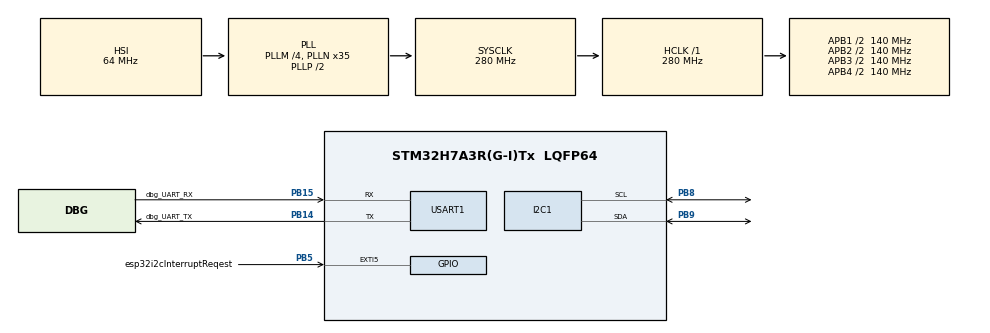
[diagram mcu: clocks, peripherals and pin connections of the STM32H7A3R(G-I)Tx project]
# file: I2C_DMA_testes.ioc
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CORTEX_M7.default_mode_Activation=0
Dma.I2C1_RX.0.Direction=DMA_PERIPH_TO_MEMORY
Dma.I2C1_RX.0.EventEnable=DISABLE
Dma.I2C1_RX.0.FIFOMode=DMA_FIFOMODE_DISABLE
Dma.I2C1_RX.0.Instance=DMA1_Stream0
Dma.I2C1_RX.0.MemDataAlignment=DMA_MDATAALIGN_BYTE
Dma.I2C1_RX.0.MemInc=DMA_MINC_ENABLE
Dma.I2C1_RX.0.Mode=DMA_NORMAL
Dma.I2C1_RX.0.PeriphDataAlignment=DMA_PDATAALIGN_BYTE
Dma.I2C1_RX.0.PeriphInc=DMA_PINC_DISABLE
Dma.I2C1_RX.0.Polarity=HAL_DMAMUX_REQ_GEN_RISING
Dma.I2C1_RX.0.Priority=DMA_PRIORITY_LOW
Dma.I2C1_RX.0.RequestNumber=1
Dma.I2C1_RX.0.SignalID=NONE
Dma.I2C1_RX.0.SyncEnable=DISABLE
Dma.I2C1_RX.0.SyncPolarity=HAL_DMAMUX_SYNC_NO_EVENT
Dma.I2C1_RX.0.SyncRequestNumber=1
Dma.I2C1_RX.0.SyncSignalID=NONE
Dma.I2C1_TX.1.Direction=DMA_MEMORY_TO_PERIPH
Dma.I2C1_TX.1.EventEnable=DISABLE
Dma.I2C1_TX.1.FIFOMode=DMA_FIFOMODE_DISABLE
Dma.I2C1_TX.1.Instance=DMA1_Stream1
Dma.I2C1_TX.1.MemDataAlignment=DMA_MDATAALIGN_BYTE
Dma.I2C1_TX.1.MemInc=DMA_MINC_ENABLE
Dma.I2C1_TX.1.Mode=DMA_NORMAL
Dma.I2C1_TX.1.PeriphDataAlignment=DMA_PDATAALIGN_BYTE
Dma.I2C1_TX.1.PeriphInc=DMA_PINC_DISABLE
Dma.I2C1_TX.1.Polarity=HAL_DMAMUX_REQ_GEN_RISING
Dma.I2C1_TX.1.Priority=DMA_PRIORITY_LOW
Dma.I2C1_TX.1.RequestNumber=1
Dma.I2C1_TX.1.SignalID=NONE
Dma.I2C1_TX.1.SyncEnable=DISABLE
Dma.I2C1_TX.1.SyncPolarity=HAL_DMAMUX_SYNC_NO_EVENT
Dma.I2C1_TX.1.SyncRequestNumber=1
Dma.I2C1_TX.1.SyncSignalID=NONE
Dma.Request0=I2C1_RX
Dma.Request1=I2C1_TX
FREERTOS.Tasks01=defaultTask,0,128,StartDefaultTask,Default,NULL,Dynamic,NULL,NULL
I2C1.NoStretchMode=I2C_NOSTRETCH_ENABLE
I2C1.Timing=0x20B0CCFF
Mcu.Family=STM32H7
Mcu.Name=STM32H7A3R(G-I)Tx
Mcu.Package=LQFP64
NVIC.DMA1_Stream0_IRQn=true\:1\:0\:true\:false\:true\:false\:false\:true\:true
NVIC.DMA1_Stream1_IRQn=true\:1\:0\:true\:false\:true\:false\:false\:true\:true
NVIC.EXTI9_5_IRQn=true\:0\:0\:true\:false\:true\:false\:true\:true\:true
NVIC.I2C1_ER_IRQn=true\:1\:0\:true\:false\:true\:false\:true\:true\:true
NVIC.I2C1_EV_IRQn=true\:1\:0\:true\:false\:true\:false\:true\:true\:true
NVIC.PriorityGroup=NVIC_PRIORITYGROUP_4
NVIC.TIM1_UP_IRQn=true\:15\:0\:false\:false\:true\:false\:false\:true\:true
NVIC.TimeBase=TIM1_UP_IRQn
NVIC.TimeBaseIP=TIM1
PA13.Mode=Trace_Asynchronous_SW
PA13.Signal=DEBUG_JTMS-SWDIO
PA14.Mode=Trace_Asynchronous_SW
PA14.Signal=DEBUG_JTCK-SWCLK
PB14.GPIO_Label=dbg_UART_TX
PB14.Mode=Asynchronous
PB14.Signal=USART1_TX
PB15.GPIO_Label=dbg_UART_RX
PB15.Mode=Asynchronous
PB15.Signal=USART1_RX
PB3.Mode=Trace_Asynchronous_SW
PB3.Signal=DEBUG_JTDO-SWO
PB5.GPIO_Label=esp32i2cInterruptReqest
PB5.GPIO_ModeDefaultEXTI=GPIO_MODE_IT_FALLING
PB5.Signal=GPXTI5
PB8.Mode=I2C
PB8.Signal=I2C1_SCL
PB9.Mode=I2C
PB9.Signal=I2C1_SDA
ProjectManager.HeapSize=0x200
ProjectManager.StackSize=0x400
ProjectManager.TargetToolchain=STM32CubeIDE
RCC.ADCFreq_Value=129000000
RCC.APB1Freq_Value=140000000
RCC.APB2Freq_Value=140000000
RCC.APB3Freq_Value=140000000
RCC.APB4Freq_Value=140000000
RCC.CDPPRE=RCC_APB3_DIV2
RCC.CDPPRE1=RCC_APB1_DIV2
RCC.CDPPRE2=RCC_APB2_DIV2
RCC.CortexFreq_Value=280000000
RCC.DIVM1=4
RCC.DIVN1=35
RCC.HCLKFreq_Value=280000000
RCC.PLL2FRACN=0
RCC.PLL3FRACN=0
RCC.PLLFRACN=0
RCC.SRDPPRE=RCC_APB4_DIV2
RCC.SYSCLKFreq_VALUE=280000000
RCC.SYSCLKSource=RCC_SYSCLKSOURCE_PLLCLK
RCC.USBFreq_Value=280000000
USART1.VirtualMode-Asynchronous=VM_ASYNC
VP_FREERTOS_VS_CMSIS_V1.Mode=CMSIS_V1
VP_SYS_VS_tim1.Mode=TIM1
board=custom

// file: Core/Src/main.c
/* USER CODE BEGIN Header */
/**
  ******************************************************************************
  * @file           : main.c
  * @brief          : Main program body
  ******************************************************************************
  * @attention
  *
  * Copyright (c) 2024 STMicroelectronics.
  * All rights reserved.
  *
  * This software is licensed under terms that can be found in the LICENSE file
  * in the root directory of this software component.
  * If no LICENSE file comes with this software, it is provided AS-IS.
  *
  ******************************************************************************
  */
/* USER CODE END Header */
#include "main.h"
#include "cmsis_os.h"
#include "dma.h"
#include "i2c.h"
#include "usart.h"
#include "gpio.h"

/* USER CODE BEGIN Includes */
#include "queue.h"
#define I2C_SLAVE_ADDRESS_ESP32	0x3C

	typedef struct{
		uint8_t slaveDevice7bitAddress;		//pole zawiera informację z którego urządzenia slave (ares urządzenia) pochodzą odczytane po i2c dane
		size_t dataSize;					//pole zawiera informację o długości przesłanych danych (m.in. na podstawie tej informacji w sposób dynamiczny tworzone są zmienne przechowujące otrzymane dane
		void *pData;						//wskaźnik do miejsca w pamięci RAM (zarezerwowanej dynamicznie), gdzie przechowywane są otrzymane po i2c dane
	} i2cFrame_transmitQueue;
/* USER CODE END Includes */

void SystemClock_Config(void);
void MX_FREERTOS_Init(void);

int main(void)
{

  /* MCU Configuration--------------------------------------------------------*/

  /* Reset of all peripherals, Initializes the Flash interface and the Systick. */
  HAL_Init();

  /* Configure the system clock */
  SystemClock_Config();

  /* Initialize all configured peripherals */
  MX_GPIO_Init();
  MX_DMA_Init();
  MX_USART1_UART_Init();
  MX_I2C1_Init();
  /* USER CODE BEGIN 2 */

	void* testBuffer;

	QueueHandle_t handler_Queue = xQueueCreate(20, sizeof(uint8_t));

	char trash[] = "HelloABCDEF";

	i2cFrame_transmitQueue testTransm;

	testTransm.slaveDevice7bitAddress = 0x3C<<1;
	testTransm.dataSize =sizeof(trash);
	testTransm.pData = &trash;

	size_t bufferLenght = sizeof(testTransm.dataSize)+testTransm.dataSize;
	testBuffer = malloc(bufferLenght);

	memcpy(testBuffer,&testTransm.dataSize, sizeof(testTransm.dataSize));
	memcpy(testBuffer+sizeof(size_t), testTransm.pData, testTransm.dataSize);

	while(1){
		while(HAL_I2C_GetState(&hi2c1)!= HAL_I2C_STATE_READY){};

		HAL_StatusTypeDef retVal = HAL_I2C_Master_Transmit(&hi2c1, I2C_SLAVE_ADDRESS_ESP32<<1,(uint8_t*) "12344", 6, 200);

		//HAL_StatusTypeDef retVal =HAL_I2C_Master_Transmit_DMA(&hi2c1, I2C_SLAVE_ADDRESS_ESP32<<1, (uint8_t*) testBuffer, bufferLenght);

		//pętla opóźniająca jest potrzebna między kolejnymi przesyłkami
		for(uint32_t i=0; i<0xfffff; i++){

		}
		//uint8_t data;

	}

  /* USER CODE END 2 */

  /* Call init function for freertos objects (in cmsis_os2.c) */
  MX_FREERTOS_Init();

  /* Start scheduler */
  osKernelStart();

  /* We should never get here as control is now taken by the scheduler */

  /* Infinite loop */
  while (1)
  {

  }
}

void SystemClock_Config(void)
{
  RCC_OscInitTypeDef RCC_OscInitStruct = {0};
  RCC_ClkInitTypeDef RCC_ClkInitStruct = {0};

  /*AXI clock gating */
  RCC->CKGAENR = 0xFFFFFFFF;

  /** Supply configuration update enable
  */
  HAL_PWREx_ConfigSupply(PWR_LDO_SUPPLY);

  /** Configure the main internal regulator output voltage
  */
  __HAL_PWR_VOLTAGESCALING_CONFIG(PWR_REGULATOR_VOLTAGE_SCALE0);

  while(!__HAL_PWR_GET_FLAG(PWR_FLAG_VOSRDY)) {}

  /** Initializes the RCC Oscillators according to the specified parameters
  * in the RCC_OscInitTypeDef structure.
  */
  RCC_OscInitStruct.OscillatorType = RCC_OSCILLATORTYPE_HSI;
  RCC_OscInitStruct.HSIState = RCC_HSI_DIV1;
  RCC_OscInitStruct.HSICalibrationValue = 64;
  RCC_OscInitStruct.PLL.PLLState = RCC_PLL_ON;
  RCC_OscInitStruct.PLL.PLLSource = RCC_PLLSOURCE_HSI;
  RCC_OscInitStruct.PLL.PLLM = 4;
  RCC_OscInitStruct.PLL.PLLN = 35;
  RCC_OscInitStruct.PLL.PLLP = 2;
  RCC_OscInitStruct.PLL.PLLQ = 2;
  RCC_OscInitStruct.PLL.PLLR = 2;
  RCC_OscInitStruct.PLL.PLLRGE = RCC_PLL1VCIRANGE_3;
  RCC_OscInitStruct.PLL.PLLVCOSEL = RCC_PLL1VCOWIDE;
  RCC_OscInitStruct.PLL.PLLFRACN = 0;
  if (HAL_RCC_OscConfig(&RCC_OscInitStruct) != HAL_OK)
  {
    Error_Handler();
  }

  /** Initializes the CPU, AHB and APB buses clocks
  */
  RCC_ClkInitStruct.ClockType = RCC_CLOCKTYPE_HCLK|RCC_CLOCKTYPE_SYSCLK
                              |RCC_CLOCKTYPE_PCLK1|RCC_CLOCKTYPE_PCLK2
                              |RCC_CLOCKTYPE_D3PCLK1|RCC_CLOCKTYPE_D1PCLK1;
  RCC_ClkInitStruct.SYSCLKSource = RCC_SYSCLKSOURCE_PLLCLK;
  RCC_ClkInitStruct.SYSCLKDivider = RCC_SYSCLK_DIV1;
  RCC_ClkInitStruct.AHBCLKDivider = RCC_HCLK_DIV1;
  RCC_ClkInitStruct.APB3CLKDivider = RCC_APB3_DIV2;
  RCC_ClkInitStruct.APB1CLKDivider = RCC_APB1_DIV2;
  RCC_ClkInitStruct.APB2CLKDivider = RCC_APB2_DIV2;
  RCC_ClkInitStruct.APB4CLKDivider = RCC_APB4_DIV2;

  if (HAL_RCC_ClockConfig(&RCC_ClkInitStruct, FLASH_LATENCY_6) != HAL_OK)
  {
    Error_Handler();
  }
}

void HAL_TIM_PeriodElapsedCallback(TIM_HandleTypeDef *htim)
{
  if (htim->Instance == TIM1) {
    HAL_IncTick();
  }
}

void Error_Handler(void)
{
  __disable_irq();
  while (1)
  {
  }
}

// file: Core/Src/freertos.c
/* USER CODE BEGIN Header */
/**
  ******************************************************************************
  * File Name          : freertos.c
  * Description        : Code for freertos applications
  ******************************************************************************
  * @attention
  *
  * Copyright (c) 2024 STMicroelectronics.
  * All rights reserved.
  *
  * This software is licensed under terms that can be found in the LICENSE file
  * in the root directory of this software component.
  * If no LICENSE file comes with this software, it is provided AS-IS.
  *
  ******************************************************************************
  */
/* USER CODE END Header */

#include "FreeRTOS.h"
#include "task.h"
#include "main.h"
#include "cmsis_os.h"

/* USER CODE BEGIN Includes */
extern I2C_HandleTypeDef hi2c1;
#define I2C_SLAVE_ADDRESS_ESP32	0x3C

	typedef struct{
		uint8_t slaveDevice7bitAddress;		//pole zawiera informację z którego urządzenia slave (ares urządzenia) pochodzą odczytane po i2c dane
		size_t dataSize;					//pole zawiera informację o długości przesłanych danych (m.in. na podstawie tej informacji w sposób dynamiczny tworzone są zmienne przechowujące otrzymane dane
		void *pData;						//wskaźnik do miejsca w pamięci RAM (zarezerwowanej dynamicznie), gdzie przechowywane są otrzymane po i2c dane
	} i2cFrame_transmitQueue;

/* USER CODE END Includes */

osThreadId defaultTaskHandle;

void StartDefaultTask(void const * argument);

void MX_FREERTOS_Init(void); /* (MISRA C 2004 rule 8.1) */

/* GetIdleTaskMemory prototype (linked to static allocation support) */
void vApplicationGetIdleTaskMemory( StaticTask_t **ppxIdleTaskTCBBuffer, StackType_t **ppxIdleTaskStackBuffer, uint32_t *pulIdleTaskStackSize );

/* USER CODE BEGIN GET_IDLE_TASK_MEMORY */
static StaticTask_t xIdleTaskTCBBuffer;
static StackType_t xIdleStack[configMINIMAL_STACK_SIZE];

void vApplicationGetIdleTaskMemory( StaticTask_t **ppxIdleTaskTCBBuffer, StackType_t **ppxIdleTaskStackBuffer, uint32_t *pulIdleTaskStackSize )
{
  *ppxIdleTaskTCBBuffer = &xIdleTaskTCBBuffer;
  *ppxIdleTaskStackBuffer = &xIdleStack[0];
  *pulIdleTaskStackSize = configMINIMAL_STACK_SIZE;
  /* place for user code */
}
/* USER CODE END GET_IDLE_TASK_MEMORY */

void MX_FREERTOS_Init(void) {

  /* Create the thread(s) */
  /* definition and creation of defaultTask */
  osThreadDef(defaultTask, StartDefaultTask, osPriorityNormal, 0, 128);
  defaultTaskHandle = osThreadCreate(osThread(defaultTask), NULL);

  /* USER CODE BEGIN RTOS_THREADS */
  /* add threads, ... */

  void* testBuffer;

  	QueueHandle_t handler_Queue = xQueueCreate(20, sizeof(uint8_t));

  	char trash[] = "HelloABCDEF";

  	i2cFrame_transmitQueue testTransm;

  	testTransm.slaveDevice7bitAddress = 0x3C<<1;
  	testTransm.dataSize =sizeof(trash);
  	testTransm.pData = &trash;

  	size_t bufferLenght = sizeof(testTransm.dataSize)+testTransm.dataSize;
  	testBuffer = malloc(bufferLenght);

  	memcpy(testBuffer,&testTransm.dataSize, sizeof(testTransm.dataSize));
  	memcpy(testBuffer+sizeof(size_t), testTransm.pData, testTransm.dataSize);

  	while(1){
  		while(HAL_I2C_GetState(&hi2c1)!= HAL_I2C_STATE_READY){};

  		HAL_StatusTypeDef retVal =HAL_I2C_Master_Transmit_DMA(&hi2c1, I2C_SLAVE_ADDRESS_ESP32<<1, (uint8_t*) testBuffer, bufferLenght);

  		//pętla opóźniająca jest potrzebna między kolejnymi przesyłkami
  		for(uint32_t i=0; i<0xfffff; i++){

  		}
  		//uint8_t data;

  	}

  /* USER CODE END RTOS_THREADS */

}

void StartDefaultTask(void const * argument)
{
  for(;;)
  {
    osDelay(1);
  }
}
